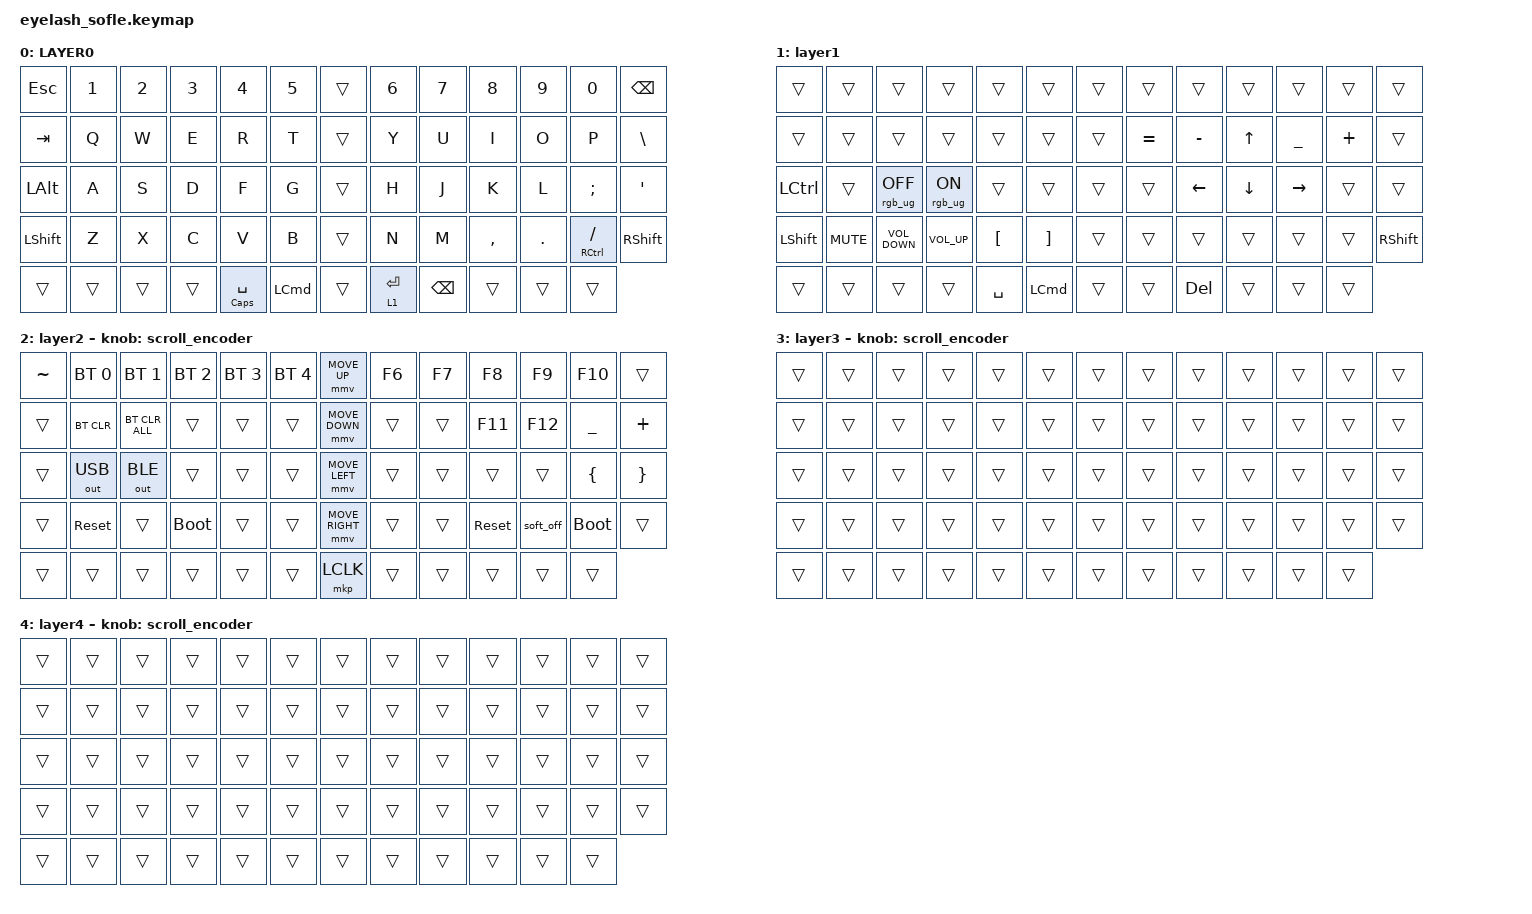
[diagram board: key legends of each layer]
#define ZMK_POINTING_DEFAULT_MOVE_VAL 1200  // 600
#define ZMK_POINTING_DEFAULT_SCRL_VAL 25   // 10

#include <input/processors.dtsi>
#include <zephyr/dt-bindings/input/input-event-codes.h>
#include <behaviors.dtsi>
#include <dt-bindings/zmk/bt.h>
#include <dt-bindings/zmk/keys.h>
#include <dt-bindings/zmk/outputs.h>
#include <dt-bindings/zmk/pointing.h>
#include <dt-bindings/zmk/rgb.h>

&mmv_input_listener { input-processors = <&zip_xy_scaler 2 1>; };

&msc_input_listener { input-processors = <&zip_scroll_scaler 2 1>; };

&msc {
    acceleration-exponent = <1>;      // 0
    time-to-max-speed-ms = <100>;       // 300
    delay-ms = <0>;                   // 0
};

&mmv {
    time-to-max-speed-ms = <500>;
    acceleration-exponent = <1>;
    trigger-period-ms = <16>;
};

&soft_off { hold-time-ms = <2000>; };

/ {
    scroll_encoder: scroll_encoder {
        compatible = "zmk,behavior-sensor-rotate";
        #sensor-binding-cells = <0>;
        bindings = <&msc SCRL_DOWN>, <&msc SCRL_UP>;

        tap-ms = <100>;
    };

    behaviors {
    };

    combos {
        compatible = "zmk,combos";

        softoff {
            bindings = <&soft_off>;
            key-positions = <14 28 40>;
        };
    };

    macros {
        SHIFT_MCLK: SHIFT_MCLK {
            compatible = "zmk,behavior-macro";
            #binding-cells = <0>;
            bindings =
                <&macro_press>,
                <&kp LEFT_SHIFT>,
                <&macro_press>,
                <&mkp MB3>,
                <&macro_pause_for_release>,
                <&macro_release>,
                <&kp LEFT_SHIFT &mkp MB3>;

            label = "SHIFT_MCLK";
        };
    };

    keymap {
        compatible = "zmk,keymap";

        layer0 {
            bindings = <
&kp ESC    &kp N1  &kp N2  &kp N3  &kp N4          &kp N5              &trans  &kp N6       &kp N7         &kp N8     &kp N9   &kp N0                   &kp BACKSPACE
&kp TAB    &kp Q   &kp W   &kp E   &kp R           &kp T               &trans  &kp Y        &kp U          &kp I      &kp O    &kp P                    &kp BSLH
&kp LALT   &kp A   &kp S   &kp D   &kp F           &kp G               &trans  &kp H        &kp J          &kp K      &kp L    &kp SEMI                 &kp APOS
&kp LSHFT  &kp Z   &kp X   &kp C   &kp V           &kp B               &trans  &kp N        &kp M          &kp COMMA  &kp DOT  &mt RIGHT_CONTROL SLASH  &kp RIGHT_SHIFT
&trans     &trans  &trans  &trans  &mt CAPS SPACE  &kp LEFT_COMMAND    &trans  &lt 1 ENTER  &kp BACKSPACE  &trans     &trans   &trans
            >;

            display-name = "LAYER0";
        };

        layer_1 {
            bindings = <
&trans            &trans      &trans             &trans           &trans            &trans               &trans  &trans     &trans      &trans    &trans          &trans    &trans
&trans            &trans      &trans             &trans           &trans            &trans               &trans  &kp EQUAL  &kp MINUS   &kp UP    &kp UNDERSCORE  &kp PLUS  &trans
&kp LEFT_CONTROL  &trans      &rgb_ug RGB_OFF    &rgb_ug RGB_ON   &trans            &trans               &trans  &trans     &kp LEFT    &kp DOWN  &kp RIGHT       &trans    &trans
&kp LEFT_SHIFT    &kp C_MUTE  &kp C_VOLUME_DOWN  &kp C_VOLUME_UP  &kp LEFT_BRACKET  &kp RIGHT_BRACKET    &trans  &trans     &trans      &trans    &trans          &trans    &kp RIGHT_SHIFT
&trans            &trans      &trans             &trans           &kp SPACE         &kp LEFT_COMMAND     &trans  &trans     &kp DELETE  &trans    &trans          &trans
            >;

            display-name = "layer1";
        };

        layer_2 {
            bindings = <
&kp TILDE  &bt BT_SEL 0  &bt BT_SEL 1    &bt BT_SEL 2  &bt BT_SEL 3  &bt BT_SEL 4    &mmv MOVE_UP     &kp F6  &kp F7  &kp F8      &kp F9     &kp F10      &trans
&trans     &bt BT_CLR    &bt BT_CLR_ALL  &trans        &trans        &trans          &mmv MOVE_DOWN   &trans  &trans  &kp F11     &kp F12    &kp UNDER    &kp PLUS
&trans     &out OUT_USB  &out OUT_BLE    &trans        &trans        &trans          &mmv MOVE_LEFT   &trans  &trans  &trans      &trans     &kp LBRC     &kp RBRC
&trans     &sys_reset    &trans          &bootloader   &trans        &trans          &mmv MOVE_RIGHT  &trans  &trans  &sys_reset  &soft_off  &bootloader  &trans
&trans     &trans        &trans          &trans        &trans        &trans          &mkp LCLK        &trans  &trans  &trans      &trans     &trans
            >;

            display-name = "layer2";
            sensor-bindings = <&scroll_encoder>;
        };

        layer_3 {
            bindings = <
&trans  &trans  &trans  &trans  &trans  &trans    &trans  &trans  &trans  &trans  &trans  &trans  &trans
&trans  &trans  &trans  &trans  &trans  &trans    &trans  &trans  &trans  &trans  &trans  &trans  &trans
&trans  &trans  &trans  &trans  &trans  &trans    &trans  &trans  &trans  &trans  &trans  &trans  &trans
&trans  &trans  &trans  &trans  &trans  &trans    &trans  &trans  &trans  &trans  &trans  &trans  &trans
&trans  &trans  &trans  &trans  &trans  &trans    &trans  &trans  &trans  &trans  &trans  &trans
            >;

            display-name = "layer3";
            sensor-bindings = <&scroll_encoder>;
        };

        layer_4 {
            bindings = <
&trans  &trans  &trans  &trans  &trans  &trans    &trans  &trans  &trans  &trans  &trans  &trans  &trans
&trans  &trans  &trans  &trans  &trans  &trans    &trans  &trans  &trans  &trans  &trans  &trans  &trans
&trans  &trans  &trans  &trans  &trans  &trans    &trans  &trans  &trans  &trans  &trans  &trans  &trans
&trans  &trans  &trans  &trans  &trans  &trans    &trans  &trans  &trans  &trans  &trans  &trans  &trans
&trans  &trans  &trans  &trans  &trans  &trans    &trans  &trans  &trans  &trans  &trans  &trans
            >;

            display-name = "layer4";
            sensor-bindings = <&scroll_encoder>;
        };
    };
};
